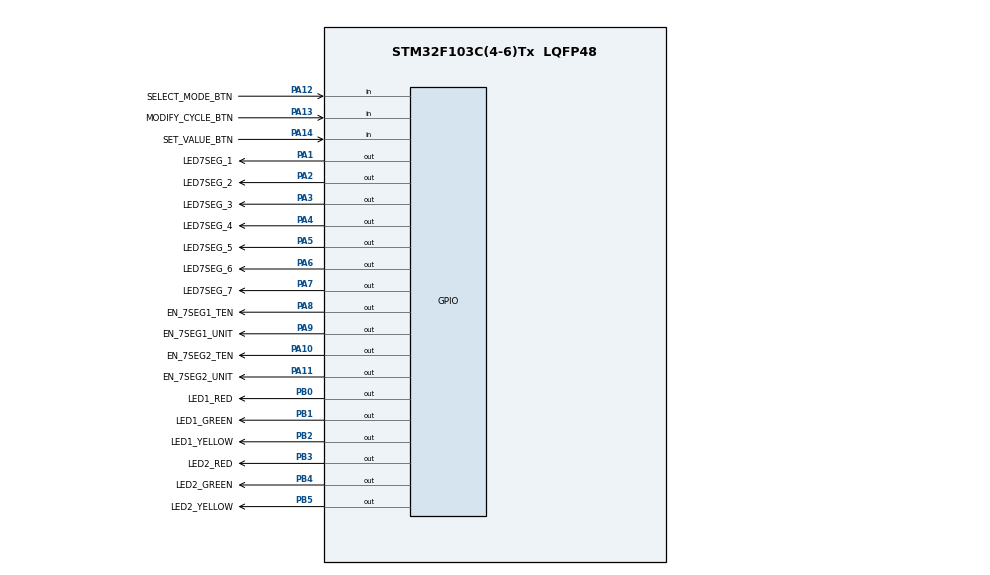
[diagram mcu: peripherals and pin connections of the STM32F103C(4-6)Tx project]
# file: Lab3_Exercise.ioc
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Mcu.Family=STM32F1
Mcu.Name=STM32F103C(4-6)Tx
Mcu.Package=LQFP48
NVIC.PriorityGroup=NVIC_PRIORITYGROUP_4
NVIC.TIM2_IRQn=true\:0\:0\:false\:false\:true\:true\:true\:true
PA1.GPIO_Label=LED7SEG_1
PA1.Signal=GPIO_Output
PA10.GPIO_Label=EN_7SEG2_TEN
PA10.Signal=GPIO_Output
PA11.GPIO_Label=EN_7SEG2_UNIT
PA11.Signal=GPIO_Output
PA12.GPIO_Label=SELECT_MODE_BTN
PA12.GPIO_PuPd=GPIO_PULLUP
PA12.Signal=GPIO_Input
PA13.GPIO_Label=MODIFY_CYCLE_BTN
PA13.GPIO_PuPd=GPIO_PULLUP
PA13.Signal=GPIO_Input
PA14.GPIO_Label=SET_VALUE_BTN
PA14.GPIO_PuPd=GPIO_PULLUP
PA14.Signal=GPIO_Input
PA2.GPIO_Label=LED7SEG_2
PA2.Signal=GPIO_Output
PA3.GPIO_Label=LED7SEG_3
PA3.Signal=GPIO_Output
PA4.GPIO_Label=LED7SEG_4
PA4.Signal=GPIO_Output
PA5.GPIO_Label=LED7SEG_5
PA5.Signal=GPIO_Output
PA6.GPIO_Label=LED7SEG_6
PA6.Signal=GPIO_Output
PA7.GPIO_Label=LED7SEG_7
PA7.Signal=GPIO_Output
PA8.GPIO_Label=EN_7SEG1_TEN
PA8.Signal=GPIO_Output
PA9.GPIO_Label=EN_7SEG1_UNIT
PA9.Signal=GPIO_Output
PB0.GPIO_Label=LED1_RED
PB0.Signal=GPIO_Output
PB1.GPIO_Label=LED1_GREEN
PB1.Signal=GPIO_Output
PB2.GPIO_Label=LED1_YELLOW
PB2.Signal=GPIO_Output
PB3.GPIO_Label=LED2_RED
PB3.Signal=GPIO_Output
PB4.GPIO_Label=LED2_GREEN
PB4.Signal=GPIO_Output
PB5.GPIO_Label=LED2_YELLOW
PB5.Signal=GPIO_Output
ProjectManager.HeapSize=0x200
ProjectManager.StackSize=0x400
ProjectManager.TargetToolchain=STM32CubeIDE
RCC.APB1Freq_Value=8000000
RCC.APB2Freq_Value=8000000
TIM2.Period=9
TIM2.Prescaler=7999
VP_TIM2_VS_ClockSourceINT.Mode=Internal
board=custom

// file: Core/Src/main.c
/* USER CODE BEGIN Header */
/**
  ******************************************************************************
  * @file           : main.c
  * @brief          : Main program body
  ******************************************************************************
  * @attention
  *
  * Copyright (c) 2023 STMicroelectronics.
  * All rights reserved.
  *
  * This software is licensed under terms that can be found in the LICENSE file
  * in the root directory of this software component.
  * If no LICENSE file comes with this software, it is provided AS-IS.
  *
  ******************************************************************************
  */
/* USER CODE END Header */
#include "main.h"

/* USER CODE BEGIN PD */
enum SystemState
{
	NORMAL_MODE,
	NORMAL_MODE_PRESSED,
	MODIFY_RED,
	UPDATE_RED_COUNTER,
	AUTO_UPDATE_RED_COUTER,
	MODIFY_RED_PRESSED,
	MODIFY_GREEN,
	UPDATE_GREEN_COUNTER,
	AUTO_UPDATE_GREEN_COUTER,
	MODIFY_GREEN_PRESSED,
	MODIFY_YELLOW,
	UPDATE_YELLOW_COUNTER,
	AUTO_UPDATE_YELLOW_COUTER,
	MODIFY_YELLOW_PRESSED,
	NORMAL_MODE_RETURN_PRESSED
};

/* USER CODE END PD */

/* USER CODE BEGIN PM */
#define AUTO_INCREASE_DURATION 500
/* USER CODE END PM */

TIM_HandleTypeDef htim2;
uint8_t red_duration = 5;
uint8_t green_duration = 3;
uint8_t yellow_duration = 2;
uint8_t duration_temp;
/* USER CODE BEGIN PV */
//used to detect the previous state when the "normal mode return" button is pressed
enum SystemState preState = NORMAL_MODE;
/* USER CODE END PV */

void SystemClock_Config(void);
static void MX_GPIO_Init(void);
static void MX_TIM2_Init(void);
/* USER CODE BEGIN PFP */
void init_leds(void);
uint8_t get_system_mode(enum SystemState);
void init_timers(void);

/* USER CODE END PFP */

int main(void)
{

  /* MCU Configuration--------------------------------------------------------*/

  /* Reset of all peripherals, Initializes the Flash interface and the Systick. */
  HAL_Init();

  /* Configure the system clock */
  SystemClock_Config();

  /* Initialize all configured peripherals */
  MX_GPIO_Init();
  MX_TIM2_Init();

  /* Infinite loop */
  /* USER CODE BEGIN WHILE */
  HAL_TIM_Base_Start_IT(&htim2);
  init_leds();
  init_button_state();
  init_button();
  init_timers();
  traffic_light_reset();

  enum SystemState systemState = NORMAL_MODE;
  while (1)
  {
    /* USER CODE END WHILE */

    /* USER CODE BEGIN 3 */

	  //Read button every 10ms
	  if (is_timer_btn_reading_flagged())
	  {
		  button_reading();
		  set_timer_btn_reading(10);
	  }

	  //Update the state of "select mode" button (index 0)
	  //This button does not support auto-increment while holding
	  not_auto_increase_btn_fsm(0);
	  enum ButtonState selectModeButton = get_button_state(0);

	  //Update the state of "modify cycle" button (index 1)
	  auto_increase_btn_fsm(1);
	  enum ButtonState modifyCycleButton = get_button_state(1);

	  //Update the state of "normal mode return" button (index 2)
	  //This button does not support auto-increment while holding
	  not_auto_increase_btn_fsm(2);
	  enum ButtonState normalModeReturnButton = get_button_state(2);

	  //FSM for the entire system
	  switch (systemState)
	  {
	  case NORMAL_MODE:
		  traffic_light_fsm();
		  if (selectModeButton == BUTTON_PRESSED)
		  {
			  systemState = NORMAL_MODE_PRESSED;
		  }
		  break;
	  case NORMAL_MODE_PRESSED:
		  traffic_light_fsm();
		  if (selectModeButton == BUTTON_RELEASED)
		  {
			  systemState = MODIFY_RED;
			  blink_led_clear();
			  duration_temp = red_duration;
		  }
		  break;
	  case MODIFY_RED:
		  blink_led(RED);
		  if (selectModeButton == BUTTON_PRESSED)
		  {
			  systemState = MODIFY_RED_PRESSED;
		  }
		  if (modifyCycleButton == BUTTON_PRESSED)
		  {
			  systemState = UPDATE_RED_COUNTER;
		  }
		  if (normalModeReturnButton == BUTTON_PRESSED)
		  {
			  preState = systemState;
			  systemState = NORMAL_MODE_RETURN_PRESSED;
		  }
		  break;
	  case UPDATE_RED_COUNTER:
		  blink_led(RED);
		  if (modifyCycleButton == BUTTON_RELEASED)
		  {
			  ++duration_temp;
			  systemState = MODIFY_RED;
		  }
		  if (modifyCycleButton == BUTTON_PRESSED_MORE_THAN_1_SECOND)
		  {
			  set_timer_auto_increase(AUTO_INCREASE_DURATION);
			  systemState = AUTO_UPDATE_RED_COUTER;
		  }
		  break;
	  case AUTO_UPDATE_RED_COUTER:
		  blink_led(RED);
		  if (modifyCycleButton == BUTTON_RELEASED)
		  {
			  systemState = MODIFY_RED;
		  }
		  if (is_timer_auto_increase_flagged())
		  {
			  ++duration_temp;
			  set_timer_auto_increase(AUTO_INCREASE_DURATION);
		  }
		  break;
	  case MODIFY_RED_PRESSED:
		  blink_led(RED);
		  if (selectModeButton == BUTTON_RELEASED)
		  {
			  systemState = MODIFY_GREEN;
			  blink_led_clear();
			  duration_temp = green_duration;
		  }
		  break;
	  case MODIFY_GREEN:
		  blink_led(GREEN);
		  if (selectModeButton == BUTTON_PRESSED)
		  {
			  systemState = MODIFY_GREEN_PRESSED;
		  }
		  if (modifyCycleButton == BUTTON_PRESSED)
		  {
			  systemState = UPDATE_GREEN_COUNTER;
		  }
		  if (normalModeReturnButton == BUTTON_PRESSED)
		  {
			  preState = systemState;
			  systemState = NORMAL_MODE_RETURN_PRESSED;
		  }
		  break;
	  case UPDATE_GREEN_COUNTER:
		  blink_led(GREEN);
		  if (modifyCycleButton == BUTTON_RELEASED)
		  {
			  ++duration_temp;
			  systemState = MODIFY_GREEN;
		  }
		  if (modifyCycleButton == BUTTON_PRESSED_MORE_THAN_1_SECOND)
		  {
			  set_timer_auto_increase(AUTO_INCREASE_DURATION);
			  systemState = AUTO_UPDATE_GREEN_COUTER;
		  }
		  break;
	  case AUTO_UPDATE_GREEN_COUTER:
		  blink_led(GREEN);
		  if (modifyCycleButton == BUTTON_RELEASED)
		  {
			  systemState = MODIFY_GREEN;
		  }
		  if (is_timer_auto_increase_flagged())
		  {
			  ++duration_temp;
			  set_timer_auto_increase(AUTO_INCREASE_DURATION);
		  }
		  break;
	  case MODIFY_GREEN_PRESSED:
		  blink_led(GREEN);
		  if (selectModeButton == BUTTON_RELEASED)
		  {
			  systemState = MODIFY_YELLOW;
			  blink_led_clear();
			  duration_temp = yellow_duration;
		  }
		  break;
	  case MODIFY_YELLOW:
		  blink_led(YELLOW);
		  if (selectModeButton == BUTTON_PRESSED)
		  {
			  systemState = MODIFY_YELLOW_PRESSED;
		  }
		  if (modifyCycleButton == BUTTON_PRESSED)
		  {
			  systemState = UPDATE_YELLOW_COUNTER;
		  }
		  if (normalModeReturnButton == BUTTON_PRESSED)
		  {
			  preState = systemState;
			  systemState = NORMAL_MODE_RETURN_PRESSED;
		  }
		  break;
	  case UPDATE_YELLOW_COUNTER:
		  blink_led(YELLOW);
		  if (modifyCycleButton == BUTTON_RELEASED)
		  {
			  ++duration_temp;
			  systemState = MODIFY_YELLOW;
		  }
		  if (modifyCycleButton == BUTTON_PRESSED_MORE_THAN_1_SECOND)
		  {
			  set_timer_auto_increase(AUTO_INCREASE_DURATION);
			  systemState = AUTO_UPDATE_YELLOW_COUTER;
		  }
		  break;
	  case AUTO_UPDATE_YELLOW_COUTER:
		  blink_led(YELLOW);
		  if (modifyCycleButton == BUTTON_RELEASED)
		  {
			  systemState = MODIFY_YELLOW;
		  }
		  if (is_timer_auto_increase_flagged())
		  {
			  ++duration_temp;
			  set_timer_auto_increase(AUTO_INCREASE_DURATION);
		  }
		  break;
	  case MODIFY_YELLOW_PRESSED:
		  blink_led(YELLOW);
		  if (selectModeButton == BUTTON_RELEASED)
		  {
			  systemState = NORMAL_MODE;
			  traffic_light_reset();
		  }
		  break;
	  case NORMAL_MODE_RETURN_PRESSED:
		  switch (preState)
		  {
		  case MODIFY_RED:
			  blink_led(RED);
			  break;
		  case MODIFY_GREEN:
			  blink_led(GREEN);
			  break;
		  case MODIFY_YELLOW:
			  blink_led(YELLOW);
			  break;
		  default:
			  break;
		  }
		  if (normalModeReturnButton == BUTTON_RELEASED)
		  {
			  systemState = NORMAL_MODE;
			  switch (preState)
			  {
			  case MODIFY_RED:
				  red_duration = duration_temp;
				  break;
			  case MODIFY_GREEN:
				  green_duration = duration_temp;
				  break;
			  case MODIFY_YELLOW:
				  yellow_duration = duration_temp;
				  break;
			  default:
				  break;
			  }
			  traffic_light_reset();
		  }
		  break;
	  }

	  led7_scanning();
  }
  /* USER CODE END 3 */
}

void SystemClock_Config(void)
{
  RCC_OscInitTypeDef RCC_OscInitStruct = {0};
  RCC_ClkInitTypeDef RCC_ClkInitStruct = {0};

  /** Initializes the RCC Oscillators according to the specified parameters
  * in the RCC_OscInitTypeDef structure.
  */
  RCC_OscInitStruct.OscillatorType = RCC_OSCILLATORTYPE_HSI;
  RCC_OscInitStruct.HSIState = RCC_HSI_ON;
  RCC_OscInitStruct.HSICalibrationValue = RCC_HSICALIBRATION_DEFAULT;
  RCC_OscInitStruct.PLL.PLLState = RCC_PLL_NONE;
  if (HAL_RCC_OscConfig(&RCC_OscInitStruct) != HAL_OK)
  {
    Error_Handler();
  }

  /** Initializes the CPU, AHB and APB buses clocks
  */
  RCC_ClkInitStruct.ClockType = RCC_CLOCKTYPE_HCLK|RCC_CLOCKTYPE_SYSCLK
                              |RCC_CLOCKTYPE_PCLK1|RCC_CLOCKTYPE_PCLK2;
  RCC_ClkInitStruct.SYSCLKSource = RCC_SYSCLKSOURCE_HSI;
  RCC_ClkInitStruct.AHBCLKDivider = RCC_SYSCLK_DIV1;
  RCC_ClkInitStruct.APB1CLKDivider = RCC_HCLK_DIV1;
  RCC_ClkInitStruct.APB2CLKDivider = RCC_HCLK_DIV1;

  if (HAL_RCC_ClockConfig(&RCC_ClkInitStruct, FLASH_LATENCY_0) != HAL_OK)
  {
    Error_Handler();
  }
}

static void MX_TIM2_Init(void)
{

  TIM_ClockConfigTypeDef sClockSourceConfig = {0};
  TIM_MasterConfigTypeDef sMasterConfig = {0};

  htim2.Instance = TIM2;
  htim2.Init.Prescaler = 7999;
  htim2.Init.CounterMode = TIM_COUNTERMODE_UP;
  htim2.Init.Period = 9;
  htim2.Init.ClockDivision = TIM_CLOCKDIVISION_DIV1;
  htim2.Init.AutoReloadPreload = TIM_AUTORELOAD_PRELOAD_DISABLE;
  if (HAL_TIM_Base_Init(&htim2) != HAL_OK)
  {
    Error_Handler();
  }
  sClockSourceConfig.ClockSource = TIM_CLOCKSOURCE_INTERNAL;
  if (HAL_TIM_ConfigClockSource(&htim2, &sClockSourceConfig) != HAL_OK)
  {
    Error_Handler();
  }
  sMasterConfig.MasterOutputTrigger = TIM_TRGO_RESET;
  sMasterConfig.MasterSlaveMode = TIM_MASTERSLAVEMODE_DISABLE;
  if (HAL_TIMEx_MasterConfigSynchronization(&htim2, &sMasterConfig) != HAL_OK)
  {
    Error_Handler();
  }

}

static void MX_GPIO_Init(void)
{
  GPIO_InitTypeDef GPIO_InitStruct = {0};

  /* GPIO Ports Clock Enable */
  __HAL_RCC_GPIOA_CLK_ENABLE();
  __HAL_RCC_GPIOB_CLK_ENABLE();

  /*Configure GPIO pin Output Level */
  HAL_GPIO_WritePin(GPIOA, LED7SEG_1_Pin|LED7SEG_2_Pin|LED7SEG_3_Pin|LED7SEG_4_Pin
                          |LED7SEG_5_Pin|LED7SEG_6_Pin|LED7SEG_7_Pin|EN_7SEG1_TEN_Pin
                          |EN_7SEG1_UNIT_Pin|EN_7SEG2_TEN_Pin|EN_7SEG2_UNIT_Pin, GPIO_PIN_RESET);

  /*Configure GPIO pin Output Level */
  HAL_GPIO_WritePin(GPIOB, LED1_RED_Pin|LED1_GREEN_Pin|LED1_YELLOW_Pin|LED2_RED_Pin
                          |LED2_GREEN_Pin|LED2_YELLOW_Pin, GPIO_PIN_RESET);

  /*Configure GPIO pins : LED7SEG_1_Pin LED7SEG_2_Pin LED7SEG_3_Pin LED7SEG_4_Pin
                           LED7SEG_5_Pin LED7SEG_6_Pin LED7SEG_7_Pin EN_7SEG1_TEN_Pin
                           EN_7SEG1_UNIT_Pin EN_7SEG2_TEN_Pin EN_7SEG2_UNIT_Pin */
  GPIO_InitStruct.Pin = LED7SEG_1_Pin|LED7SEG_2_Pin|LED7SEG_3_Pin|LED7SEG_4_Pin
                          |LED7SEG_5_Pin|LED7SEG_6_Pin|LED7SEG_7_Pin|EN_7SEG1_TEN_Pin
                          |EN_7SEG1_UNIT_Pin|EN_7SEG2_TEN_Pin|EN_7SEG2_UNIT_Pin;
  GPIO_InitStruct.Mode = GPIO_MODE_OUTPUT_PP;
  GPIO_InitStruct.Pull = GPIO_NOPULL;
  GPIO_InitStruct.Speed = GPIO_SPEED_FREQ_LOW;
  HAL_GPIO_Init(GPIOA, &GPIO_InitStruct);

  /*Configure GPIO pins : LED1_RED_Pin LED1_GREEN_Pin LED1_YELLOW_Pin LED2_RED_Pin
                           LED2_GREEN_Pin LED2_YELLOW_Pin */
  GPIO_InitStruct.Pin = LED1_RED_Pin|LED1_GREEN_Pin|LED1_YELLOW_Pin|LED2_RED_Pin
                          |LED2_GREEN_Pin|LED2_YELLOW_Pin;
  GPIO_InitStruct.Mode = GPIO_MODE_OUTPUT_PP;
  GPIO_InitStruct.Pull = GPIO_NOPULL;
  GPIO_InitStruct.Speed = GPIO_SPEED_FREQ_LOW;
  HAL_GPIO_Init(GPIOB, &GPIO_InitStruct);

  /*Configure GPIO pins : SELECT_MODE_BTN_Pin MODIFY_CYCLE_BTN_Pin SET_VALUE_BTN_Pin */
  GPIO_InitStruct.Pin = SELECT_MODE_BTN_Pin|MODIFY_CYCLE_BTN_Pin|SET_VALUE_BTN_Pin;
  GPIO_InitStruct.Mode = GPIO_MODE_INPUT;
  GPIO_InitStruct.Pull = GPIO_PULLUP;
  HAL_GPIO_Init(GPIOA, &GPIO_InitStruct);

}

/* USER CODE BEGIN 4 */
uint8_t get_system_mode(enum SystemState systemState)
{
	switch (systemState)
	{
	case NORMAL_MODE:
	case NORMAL_MODE_PRESSED:
		return 1;
	case MODIFY_RED:
	case MODIFY_RED_PRESSED:
		return 2;
	case MODIFY_GREEN:
	case MODIFY_GREEN_PRESSED:
		return 3;
	case MODIFY_YELLOW:
	case MODIFY_YELLOW_PRESSED:
		return 4;
	case NORMAL_MODE_RETURN_PRESSED:
		return 0;
	}

	return 5;//invalid mode
}

void init_leds()
{
	HAL_GPIO_WritePin(EN_7SEG1_TEN_GPIO_Port, EN_7SEG1_TEN_Pin, GPIO_PIN_RESET);
	HAL_GPIO_WritePin(EN_7SEG1_UNIT_GPIO_Port, EN_7SEG1_UNIT_Pin, GPIO_PIN_SET);
	HAL_GPIO_WritePin(EN_7SEG2_TEN_GPIO_Port, EN_7SEG2_TEN_Pin, GPIO_PIN_SET);
	HAL_GPIO_WritePin(EN_7SEG2_UNIT_GPIO_Port, EN_7SEG2_UNIT_Pin, GPIO_PIN_SET);

	HAL_GPIO_WritePin(LED1_RED_GPIO_Port, LED1_RED_Pin, GPIO_PIN_SET);
	HAL_GPIO_WritePin(LED1_GREEN_GPIO_Port, LED1_GREEN_Pin, GPIO_PIN_SET);
	HAL_GPIO_WritePin(LED1_YELLOW_GPIO_Port, LED1_YELLOW_Pin, GPIO_PIN_SET);
	HAL_GPIO_WritePin(LED2_RED_GPIO_Port, LED2_RED_Pin, GPIO_PIN_SET);
	HAL_GPIO_WritePin(LED2_GREEN_GPIO_Port, LED2_GREEN_Pin, GPIO_PIN_SET);
	HAL_GPIO_WritePin(LED2_YELLOW_GPIO_Port, LED2_YELLOW_Pin, GPIO_PIN_SET);
}

void init_timers()
{
	set_timer_btn_reading(10);
	set_timer_7seg_scan(SCANNING_DURATION);
}
/* USER CODE END 4 */

void Error_Handler(void)
{
  __disable_irq();
  while (1)
  {
  }
}
